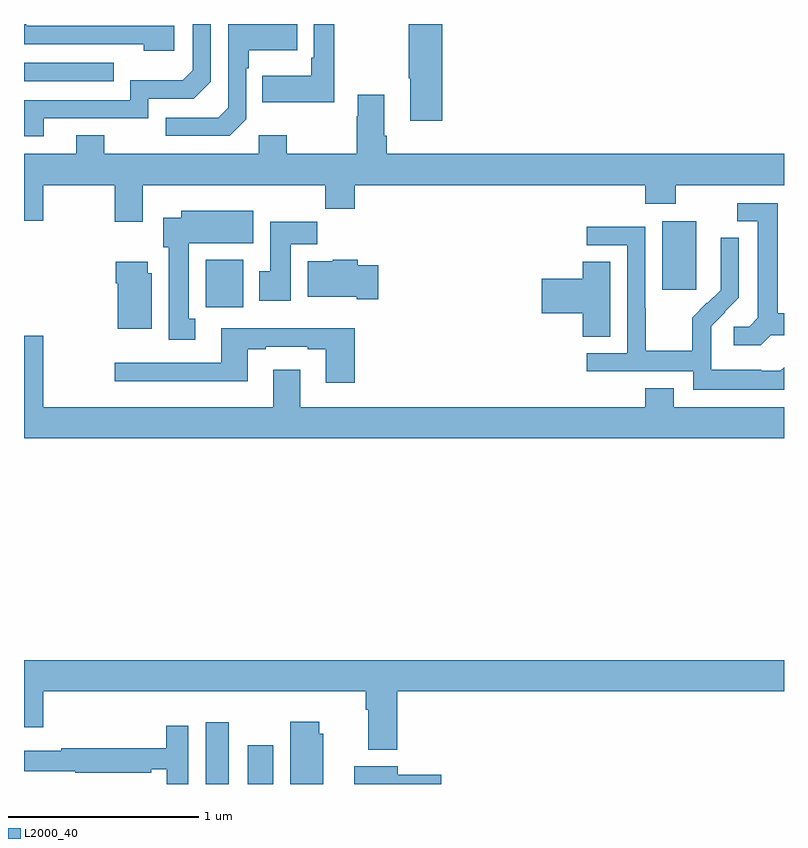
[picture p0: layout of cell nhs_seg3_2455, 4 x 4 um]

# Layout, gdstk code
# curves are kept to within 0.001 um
import gdstk
lib = gdstk.Library(unit=1e-6, precision=1e-09)
def R(c, l, rs):  # rectangles x0, y0, x1, y1
    for r in rs: c.add(gdstk.rectangle(r[:2], r[2:], *l))
def P(c, l, *ps):  # polygons
    for p in ps: c.add(gdstk.Polygon(p, *l))
L2000_40 = (2000, 40)

nhs_seg3_2455 = lib.new_cell('nhs_seg3_2455')
R(nhs_seg3_2455, L2000_40, [(237.956,728.4,238.078,728.725), (238.178,728.4,238.312,728.605), (237.957,730.908,238.153,731.158), (240.359,731.001,240.538,731.362), (237,732.099,237.473,732.195)])
P(nhs_seg3_2455, L2000_40, [(237.103,731.904),(237.654,731.904),(237.654,732.006),(237.894,732.006),(237.984,732.096),(237.984,732.4),(237.888,732.4),(237.888,732.156),(237.835,732.103),(237.558,732.103),(237.558,732),(237,732),(237,731.808),(237.103,731.808)],
  [(239.201,732.4),(239.026,732.4),(239.026,732.115),(239.033,732.115),(239.033,731.892),(239.201,731.892)],
  [(237.79,732.39),(237.013,732.39),(237.013,732.4),(237,732.4),(237,732.294),(237.629,732.294),(237.629,732.26),(237.79,732.26)],
  [(238.17,731.898),(238.17,732.167),(238.183,732.167),(238.183,732.263),(238.439,732.263),(238.439,732.4),(238.074,732.4),(238.074,731.958),(238.023,731.907),(237.747,731.907),(237.747,731.811),(238.083,731.811)],
  [(238.633,732.4),(238.524,732.4),(238.524,732.223),(238.512,732.223),(238.512,732.127),(238.255,732.127),(238.255,731.987),(238.633,731.987)],
  [(238.91,731.812),(238.897,731.812),(238.897,732.028),(238.757,732.028),(238.757,731.915),(238.75,731.915),(238.75,731.716),(238.383,731.716),(238.383,731.815),(238.236,731.815),(238.236,731.716),(237.423,731.716),(237.423,731.815),(237.275,731.815),(237.275,731.716),(237,731.716),(237,731.364),(237.1,731.364),(237.1,731.552),(237.478,731.552),(237.478,731.358),(237.625,731.358),(237.625,731.552),(238.585,731.552),(238.585,731.428),(238.742,731.428),(238.742,731.552),(240.269,731.552),(240.269,731.453),(240.429,731.453),(240.429,731.552),(241,731.552),(241,731.716),(238.91,731.716)],
  [(240.93,730.761),(241,730.761),(241,730.877),(240.967,730.877),(240.967,731.457),(240.753,731.457),(240.753,731.361),(240.863,731.361),(240.863,730.853),(240.816,730.806),(240.735,730.806),(240.735,730.709),(240.878,730.709)],
  [(237.901,730.849),(237.868,730.849),(237.868,731.246),(238.207,731.246),(238.207,731.416),(237.827,731.416),(237.827,731.38),(237.734,731.38),(237.734,731.226),(237.761,731.226),(237.761,730.737),(237.901,730.737)],
  [(238.405,731.24),(238.544,731.24),(238.544,731.358),(238.295,731.358),(238.295,731.1),(238.238,731.1),(238.238,730.944),(238.405,730.944)],
  [(241,730.594),(240.981,730.575),(240.881,730.575),(240.881,730.579),(240.618,730.579),(240.618,730.713),(240.616,730.713),(240.616,730.81),(240.762,730.958),(240.762,731.276),(240.666,731.276),(240.666,731.122),(240.668,731.122),(240.668,731),(240.597,730.929),(240.594,730.932),(240.517,730.855),(240.517,730.681),(240.273,730.681),(240.273,730.904),(240.27,730.904),(240.27,731.334),(239.961,731.334),(239.961,731.235),(240.174,731.235),(240.174,730.668),(239.961,730.668),(239.961,730.572),(240.522,730.572),(240.522,730.475),(241,730.475)],
  [(238.864,731.13),(238.757,731.13),(238.757,731.158),(238.626,731.158),(238.626,731.152),(238.493,731.152),(238.493,730.964),(238.751,730.964),(238.751,730.952),(238.864,730.952)],
  [(240.085,731.15),(239.942,731.15),(239.942,731.06),(239.724,731.06),(239.724,730.877),(239.942,730.877),(239.942,730.753),(240.085,730.753)],
  [(237.673,731.088),(237.652,731.088),(237.652,731.149),(237.482,731.149),(237.482,731.036),(237.494,731.036),(237.494,730.796),(237.673,730.796)],
  [(238.742,730.798),(238.037,730.798),(238.037,730.617),(237.477,730.617),(237.477,730.52),(238.177,730.52),(238.177,730.689),(238.273,730.689),(238.273,730.701),(238.493,730.701),(238.493,730.689),(238.589,730.689),(238.589,730.512),(238.742,730.512)],
  [(241,730.384),(240.421,730.384),(240.421,730.483),(240.269,730.483),(240.269,730.384),(238.453,730.384),(238.453,730.579),(238.313,730.579),(238.313,730.384),(237.1,730.384),(237.1,730.759),(237,730.759),(237,730.22),(241,730.22)],
  [(238.964,728.888),(241,728.888),(241,729.052),(237,729.052),(237,728.7),(237.1,728.7),(237.1,728.888),(238.799,728.888),(238.799,728.792),(238.811,728.792),(238.811,728.579),(238.964,728.579)],
  [(238.576,728.664),(238.555,728.664),(238.555,728.728),(238.4,728.728),(238.4,728.4),(238.576,728.4)],
  [(237.864,728.707),(237.748,728.707),(237.748,728.587),(237.196,728.587),(237.196,728.574),(237,728.574),(237,728.466),(237.271,728.466),(237.271,728.458),(237.671,728.458),(237.671,728.477),(237.752,728.477),(237.752,728.4),(237.864,728.4)],
  [(239.195,728.449),(238.966,728.449),(238.966,728.494),(238.739,728.494),(238.739,728.4),(239.195,728.4)])

lib.write_gds('nhs_seg3_2455.gds')
